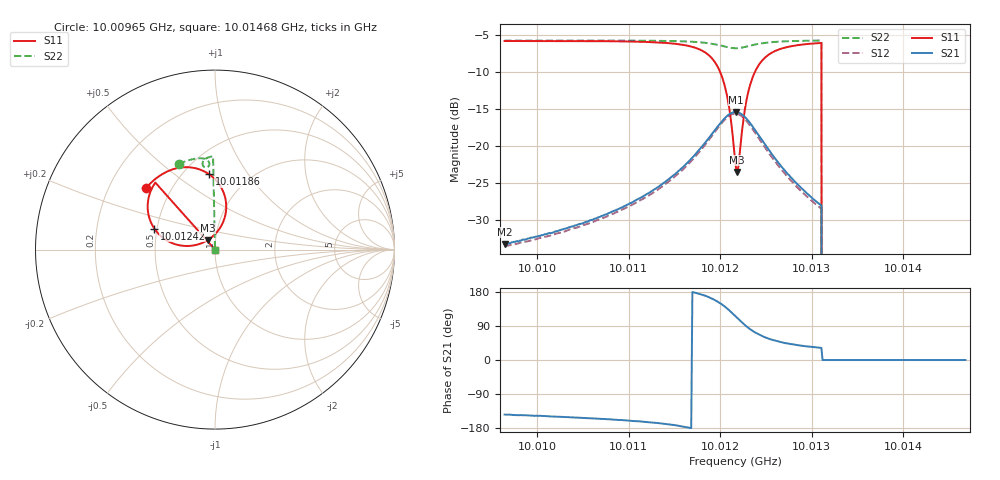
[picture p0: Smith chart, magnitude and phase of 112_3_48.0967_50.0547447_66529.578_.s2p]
#  HZ  S  RI  R  50.00
! Rohde & Schwarz Vector Network Analyzer
! Rohde-Schwarz,ZNB20-2Port,1311601062101988,3.16
! Created: UTC 12/23/2023, 3:45:51 AM
! freq[Hz]  re:S11  im:S11  re:S21  im:S21  re:S12  im:S12  re:S22  im:S22
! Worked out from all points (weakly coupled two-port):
!   401 points, 10.00965 GHz to 10.01468 GHz, reference 50 ohm
!   highest |S21| = -15.37 dB at 10.01217 GHz (marker M1); lowest = -33.2 dB at 10.00965 GHz (marker M2)
!   lowest |S11| = -23.5 dB at 10.01219 GHz (marker M3), VSWR 1.14, Z = 45.9 + j4.91 ohm
!   |S11| at or under -10 dB: 10.012 GHz to 10.01238 GHz (376 kHz wide, 0.00376 % of centre); 10.0131 GHz to end of sweep
!   |S22| runs from - to -5.7 dB; largest |S21 - S12| = 0.0084
!   S11 on the Smith chart (normalised r, x): 10.00965 GHz: 0.36, +0.34; 10.01186 GHz: 0.66, +0.68; 10.01242 GHz: 0.48, +0.13; 10.01468 GHz: 1.00, +0.00
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1.0009646e10  -0.384 0.3437  -0.0176 -0.0129  -0.0164 -0.0132  -0.2029 0.4769
1.0010489e10  -0.3284 0.3964  -0.0267 -0.0137  -0.0251 -0.0146  -0.1499 0.497
1.0011331e10  -0.2257 0.4502  -0.0519 -0.0123  -0.0495 -0.0143  -0.0898 0.5087
1.001162e10  -0.1479 0.4589  -0.0749 -0.00415  -0.0719 -0.00817  -0.0647 0.5077
1.0011859e10  -0.0326 0.4196  -0.1075 0.0239  -0.1055 0.0177  -0.041 0.4974
1.0011972e10  0.0364 0.3428  -0.122 0.0603  -0.1218 0.0522  -0.0323 0.4841
1.0012048e10  0.0623 0.2505  -0.1206 0.0963  -0.1219 0.0889  -0.032 0.472
1.0012098e10  0.0525 0.1734  -0.1079 0.1241  -0.1107 0.1165  -0.0362 0.4642
1.0012161e10  -0.00459 0.0812  -0.0765 0.1522  -0.0805 0.1454  -0.0464 0.4582
1.0012173e10  -0.0216 0.0663  -0.0685 0.156  -0.0722 0.1495  -0.049 0.4578
1.0012186e10  -0.0402 0.0533  -0.0604 0.1589  -0.0642 0.1525  -0.0515 0.4579
1.0012211e10  -0.0807 0.0335  -0.0437 0.162  -0.0473 0.156  -0.0563 0.4589
1.0012261e10  -0.1644 0.0201  -0.0108 0.159  -0.0153 0.1533  -0.0642 0.4641
1.0012299e10  -0.2216 0.0299  0.0101 0.15  0.00445 0.1449  -0.0679 0.4698
1.0012349e10  -0.2818 0.0596  0.0301 0.1334  0.0243 0.1293  -0.0696 0.4782
1.0012425e10  -0.3382 0.1175  0.0458 0.1078  0.0402 0.1048  -0.0673 0.4893
1.0012626e10  -0.3752 0.2451  0.051 0.0597  0.0463 0.0586  -0.051 0.5073
1.0013003e10  -0.3431 0.3568  0.0367 0.0252  0.0338 0.0256  -0.0188 0.5184
1.0013079e10  -0.3352 0.3697  0.0343 0.0218  0.0316 0.0224  -0.0127 0.5193
1.0013142e10  0 0  0 0  0 0  0 0
1.0013846e10  0 0  0 0  0 0  0 0
1.0014676e10  0 0  0 0  0 0  0 0
